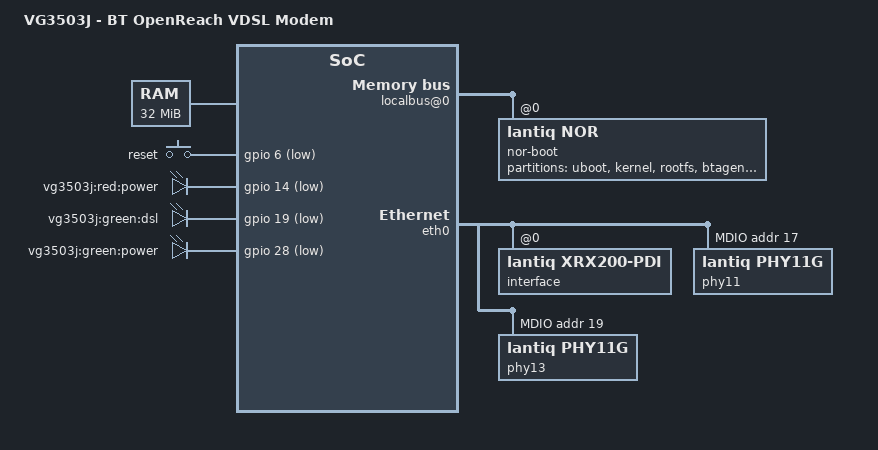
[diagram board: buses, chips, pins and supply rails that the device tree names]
/include/ "vr9.dtsi"

/ {
	model = "VG3503J - BT OpenReach VDSL Modem";

	chosen {
		bootargs = "console=ttyLTQ0,115200 init=/etc/preinit";

		leds {
			boot = &power_green;
			failsafe = &power_red;
			running = &power_green;

			internet = &dsl;
		};
	};

	memory@0 {
		reg = <0x0 0x2000000>;
	};

	fpi@10000000 {
		localbus@0 {
			ranges = <0 0 0x0 0x3ffffff>;
			nor-boot@0 {
				compatible = "lantiq,nor";
				bank-width = <2>;
				reg = <0 0x0 0x2000000>;
				#address-cells = <1>;
				#size-cells = <1>;

				partition@0 {
					label = "uboot";
					reg = <0x00000 0x20000>;
				};

				partition@20000 {
					label = "kernel";
					reg = <0x20000 0x300000>;
				};

				partition@1a0000 {
					label = "rootfs";
					reg = <0x320000 0x420000>;
				};

				partition@740000 {
					label = "btagent";
					reg = <0x740000 0x80000>;
				};

				partition@7c0000 {
					label = "pri_bfocus_cfg";
					reg = <0x7c0000 0x10000>;
				};

				partition@7d0000 {
					label = "sec_bfocus_cfg";
					reg = <0x7d0000 0x10000>;
				};

				partition@7e0000 {
					label = "sysconfig";
					reg = <0x7e0000 0x10000>;
				};

				partition@7f0000 {
					label = "misc_cfg";
					reg = <0x7f0000 0x10000>;
				};
			};
		};

		gpio: pinmux@E100B10 {
			pinctrl-names = "default";
			pinctrl-0 = <&state_default>;

			state_default: pinmux {
				mdio {
					lantiq,groups = "mdio";
					lantiq,function = "mdio";
				};
				gphy-leds {
					lantiq,groups = "gphy0 led0", "gphy0 led1",
							"gphy0 led2", "gphy1 led0",
							"gphy1 led1", "gphy1 led2";
					lantiq,function = "gphy";
					lantiq,pull = <2>;
					lantiq,open-drain = <0>;
					lantiq,output = <1>;
				};
			};
		};
	};

	gpio-keys-polled {
		compatible = "gpio-keys-polled";
		#address-cells = <1>;
		#size-cells = <0>;
		poll-interval = <100>;
		reset {
			label = "reset";
			gpios = <&gpio 6 1>;
			linux,code = <0x198>;
		};
	};

	gpio-leds {
		compatible = "gpio-leds";

		power_red: power2 {
			label = "vg3503j:red:power";
			gpios = <&gpio 14 1>;
		};
		dsl: dsl {
			label = "vg3503j:green:dsl";
			gpios = <&gpio 19 1>;
		};
		power_green: power {
			label = "vg3503j:green:power";
			gpios = <&gpio 28 1>;
			default-state = "keep";
		};
	};
};

&eth0 {
	interface@0 {
		compatible = "lantiq,xrx200-pdi";
		#address-cells = <1>;
		#size-cells = <0>;
		reg = <0>;
		mac-address = [ 00 11 22 33 44 55 ];
		lantiq,switch;
		ethernet@2 {
			compatible = "lantiq,xrx200-pdi-port";
			reg = <2>;
			phy-mode = "mii";
			phy-handle = <&phy11>;
		};
		ethernet@4 {
			compatible = "lantiq,xrx200-pdi-port";
			reg = <4>;
			phy-mode = "mii";
			phy-handle = <&phy13>;
		};
	};

	mdio@0 {
		#address-cells = <1>;
		#size-cells = <0>;
		compatible = "lantiq,xrx200-mdio";
		phy11: ethernet-phy@11 {
			reg = <0x11>;
			compatible = "lantiq,phy11g", "ethernet-phy-ieee802.3-c22";
		};
		phy13: ethernet-phy@13 {
			reg = <0x13>;
			compatible = "lantiq,phy11g", "ethernet-phy-ieee802.3-c22";
		};
	};
};
